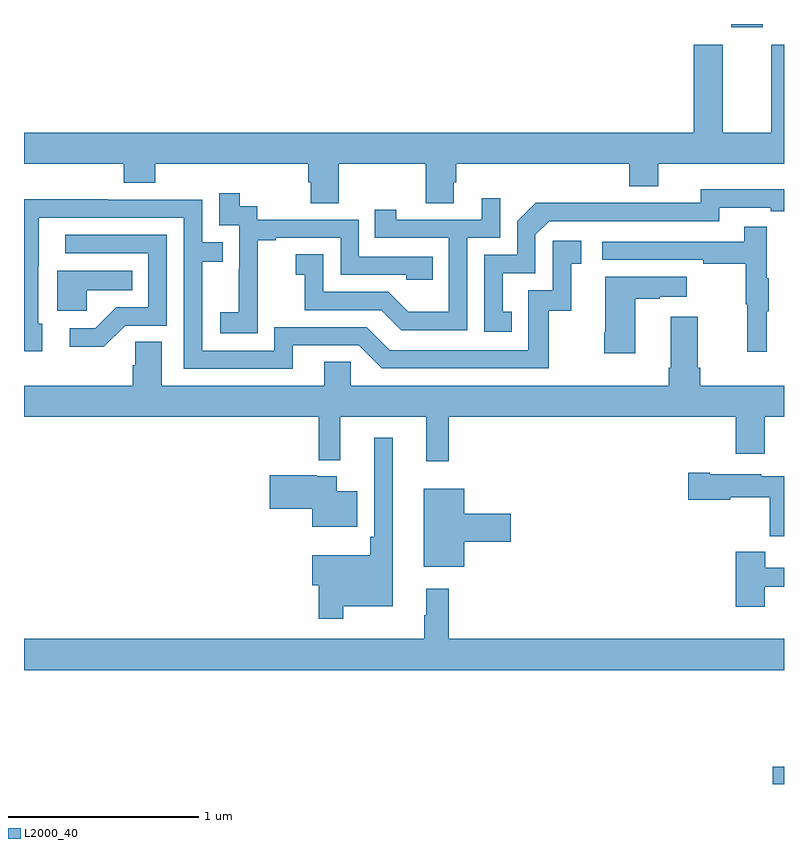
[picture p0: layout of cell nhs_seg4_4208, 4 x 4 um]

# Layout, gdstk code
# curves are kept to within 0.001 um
import gdstk
lib = gdstk.Library(unit=1e-6, precision=1e-09)
def R(c, l, rs):  # rectangles x0, y0, x1, y1
    for r in rs: c.add(gdstk.rectangle(r[:2], r[2:], *l))
def P(c, l, *ps):  # polygons
    for p in ps: c.add(gdstk.Polygon(p, *l))
L2000_40 = (2000, 40)

nhs_seg4_4208 = lib.new_cell('nhs_seg4_4208')
R(nhs_seg4_4208, L2000_40, [(338.94,782.9,339,782.99), (338.723,786.882,338.887,786.9)])
P(nhs_seg4_4208, L2000_40, [(336.657,786.164),(337.114,786.164),(337.114,785.956),(337.261,785.956),(337.261,786.066),(337.274,786.066),(337.274,786.164),(338.186,786.164),(338.186,786.047),(338.338,786.047),(338.338,786.164),(339,786.164),(339,786.79),(338.933,786.79),(338.933,786.328),(338.677,786.328),(338.677,786.79),(338.525,786.79),(338.525,786.328),(335,786.328),(335,786.164),(335.525,786.164),(335.525,786.065),(335.69,786.065),(335.69,786.164),(336.497,786.164),(336.497,786.066),(336.509,786.066),(336.509,785.956),(336.657,785.956)],
  [(337.568,785.385),(337.519,785.385),(337.519,785.589),(337.692,785.589),(337.692,785.79),(337.764,785.862),(338.658,785.862),(338.658,785.934),(338.93,785.934),(338.93,785.914),(339,785.914),(339,786.03),(338.562,786.031),(338.562,785.958),(338.102,785.958),(338.102,785.96),(337.694,785.96),(337.596,785.862),(337.596,785.685),(337.422,785.685),(337.422,785.28),(337.568,785.28)],
  [(336.231,785.479),(336.23,785.479),(336.23,785.763),(336.325,785.763),(336.325,785.775),(336.666,785.775),(336.666,785.58),(337.011,785.58),(337.011,785.553),(337.151,785.553),(337.151,785.676),(336.762,785.676),(336.762,785.871),(336.228,785.871),(336.228,785.94),(336.136,785.94),(336.136,786.01),(336.027,786.01),(336.027,785.841),(336.132,785.841),(336.132,785.612),(336.131,785.612),(336.131,785.383),(336.033,785.383),(336.033,785.273),(336.231,785.273)],
  [(337.332,785.775),(337.506,785.775),(337.506,785.983),(337.409,785.983),(337.409,785.871),(336.958,785.871),(336.958,785.923),(336.847,785.923),(336.847,785.775),(337.236,785.775),(337.236,785.386),(337.022,785.386),(336.918,785.49),(336.576,785.49),(336.576,785.689),(336.429,785.689),(336.429,785.579),(336.478,785.579),(336.478,785.394),(336.881,785.394),(336.986,785.289),(337.332,785.289)],
  [(336.415,785.208),(336.762,785.208),(336.882,785.088),(337.762,785.088),(337.762,785.391),(337.88,785.391),(337.88,785.637),(337.933,785.637),(337.933,785.758),(337.782,785.758),(337.782,785.499),(337.653,785.499),(337.653,785.184),(336.924,785.184),(336.804,785.304),(336.318,785.304),(336.318,785.181),(335.937,785.181),(335.937,785.65),(336.047,785.65),(336.047,785.751),(335.937,785.751),(335.937,785.976),(335.441,785.976),(335.441,785.978),(335,785.978),(335,785.178),(335.095,785.178),(335.095,785.322),(335.076,785.322),(335.077,785.88),(335.841,785.88),(335.841,785.085),(336.415,785.085)],
  [(338.909,785.387),(338.92,785.387),(338.92,785.561),(338.909,785.561),(338.909,785.833),(338.791,785.833),(338.791,785.754),(338.043,785.754),(338.043,785.658),(338.575,785.658),(338.575,785.638),(338.799,785.638),(338.799,785.424),(338.806,785.424),(338.806,785.175),(338.909,785.175)],
  [(335.532,785.313),(335.751,785.313),(335.751,785.79),(335.217,785.79),(335.217,785.694),(335.655,785.694),(335.655,785.409),(335.486,785.409),(335.375,785.298),(335.241,785.298),(335.241,785.201),(335.419,785.201)],
  [(335.331,785.498),(335.57,785.498),(335.57,785.602),(335.174,785.602),(335.174,785.39),(335.331,785.39)],
  [(338.218,785.455),(338.345,785.455),(338.345,785.465),(338.488,785.465),(338.488,785.569),(338.06,785.569),(338.06,785.278),(338.053,785.278),(338.053,785.166),(338.218,785.166)],
  [(337.235,784.832),(338.747,784.832),(338.747,784.638),(338.899,784.638),(338.899,784.832),(339,784.832),(339,784.996),(338.558,784.996),(338.558,785.092),(338.545,785.092),(338.545,785.359),(338.405,785.359),(338.405,785.092),(338.393,785.092),(338.393,784.996),(336.72,784.996),(336.72,785.123),(336.581,785.123),(336.581,784.996),(335.725,784.996),(335.725,785.228),(335.586,785.228),(335.586,785.105),(335.573,785.105),(335.573,784.996),(335,784.996),(335,784.832),(336.552,784.832),(336.552,784.604),(336.665,784.604),(336.665,784.832),(337.118,784.832),(337.118,784.599),(337.235,784.599)],
  [(336.679,783.836),(336.94,783.836),(336.94,784.723),(336.843,784.723),(336.843,784.201),(336.823,784.201),(336.823,784.105),(336.516,784.105),(336.516,783.947),(336.55,783.947),(336.55,783.771),(336.679,783.771)],
  [(339,784.519),(338.88,784.519),(338.88,784.531),(338.608,784.531),(338.608,784.539),(338.496,784.539),(338.496,784.397),(338.718,784.397),(338.718,784.409),(338.926,784.409),(338.926,784.205),(339,784.205)],
  [(336.754,784.441),(336.646,784.441),(336.646,784.519),(336.542,784.519),(336.542,784.524),(336.294,784.524),(336.294,784.349),(336.518,784.349),(336.518,784.253),(336.754,784.253)],
  [(337.318,784.175),(337.561,784.175),(337.561,784.322),(337.318,784.322),(337.318,784.453),(337.103,784.453),(337.103,784.043),(337.318,784.043)],
  [(338.899,783.939),(339,783.939),(339,784.039),(338.902,784.039),(338.902,784.123),(338.747,784.123),(338.747,783.834),(338.899,783.834)],
  [(339,783.664),(337.235,783.664),(337.235,783.928),(337.118,783.928),(337.118,783.788),(337.107,783.788),(337.107,783.664),(335,783.664),(335,783.5),(339,783.5)])

lib.write_gds('nhs_seg4_4208.gds')
